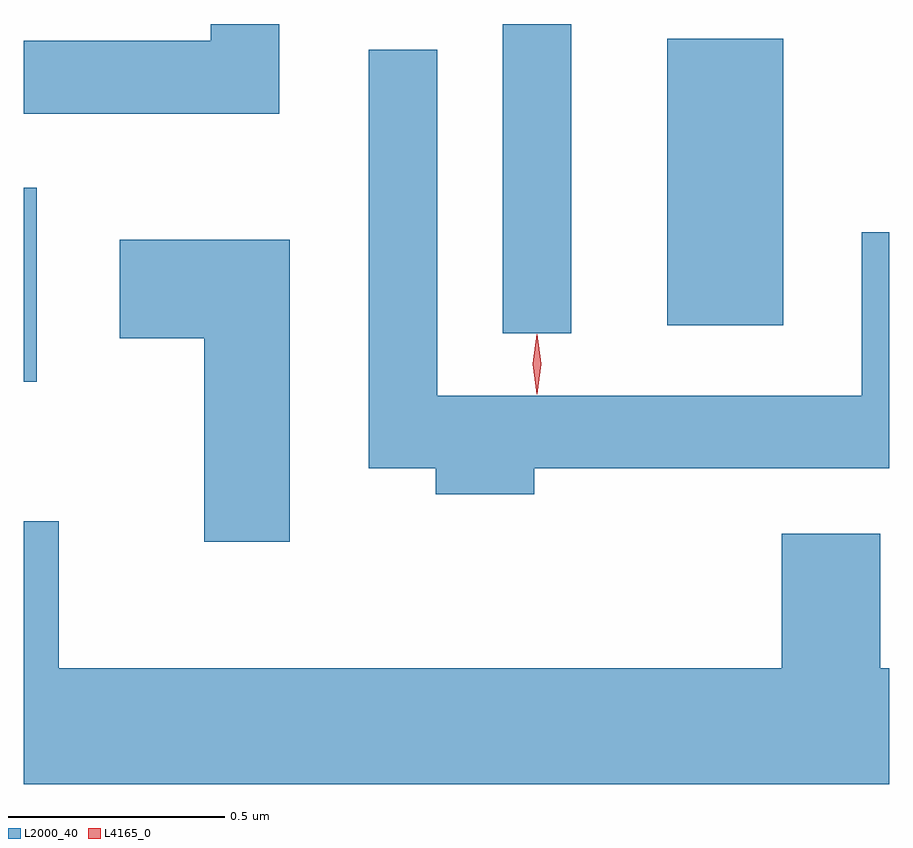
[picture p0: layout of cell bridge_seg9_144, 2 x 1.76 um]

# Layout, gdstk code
import gdstk
lib = gdstk.Library(unit=1e-6, precision=1e-09)
def R(c, l, rs):  # rectangles x0, y0, x1, y1
    for r in rs: c.add(gdstk.rectangle(r[:2], r[2:], *l))
def P(c, l, *ps):  # polygons
    for p in ps: c.add(gdstk.Polygon(p, *l))
L2000_40 = (2000, 40)
L4165_0 = (4165, 0)

bridge_seg9_144 = lib.new_cell('bridge_seg9_144')
R(bridge_seg9_144, L2000_40, [(1369.649,2072.666,1369.679,2073.114), (1370.756,2072.778,1370.914,2073.493), (1371.136,2072.796,1371.404,2073.459)])
P(bridge_seg9_144, L2000_40, [(1370.239,2073.493),(1370.081,2073.493),(1370.081,2073.454),(1369.649,2073.454),(1369.649,2073.286),(1370.239,2073.286)],
  [(1370.829,2072.466),(1371.649,2072.466),(1371.649,2073.012),(1371.586,2073.012),(1371.586,2072.634),(1370.604,2072.634),(1370.604,2073.433),(1370.446,2073.433),(1370.446,2072.466),(1370.601,2072.466),(1370.601,2072.406),(1370.829,2072.406)],
  [(1370.264,2072.994),(1369.871,2072.994),(1369.871,2072.766),(1370.066,2072.766),(1370.066,2072.296),(1370.264,2072.296)],
  [(1371.649,2072.004),(1371.629,2072.004),(1371.629,2072.314),(1371.401,2072.314),(1371.401,2072.004),(1369.729,2072.004),(1369.729,2072.344),(1369.649,2072.344),(1369.649,2071.736),(1371.649,2071.736)])
P(bridge_seg9_144, L4165_0, [(1370.835,2072.637),(1370.835,2072.637),(1370.825,2072.707),(1370.835,2072.776),(1370.835,2072.776),(1370.836,2072.776),(1370.845,2072.707),(1370.836,2072.637)],
  [(1370.835,2072.639),(1370.834,2072.64),(1370.825,2072.706),(1370.834,2072.772),(1370.835,2072.773),(1370.836,2072.772),(1370.845,2072.706),(1370.836,2072.64)])

lib.write_gds('bridge_seg9_144.gds')
